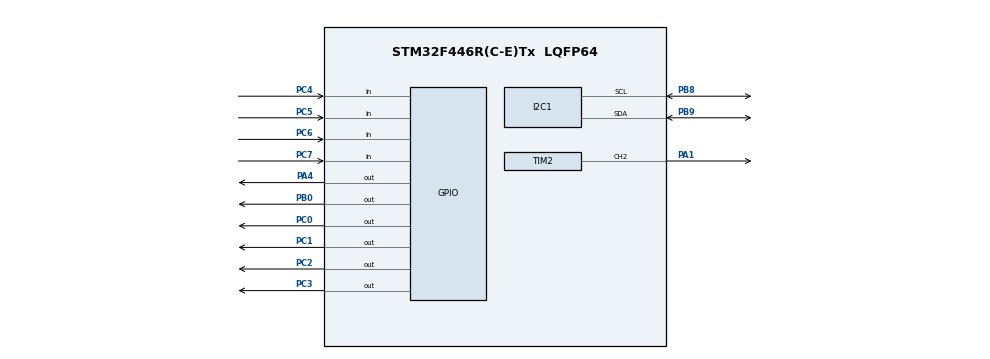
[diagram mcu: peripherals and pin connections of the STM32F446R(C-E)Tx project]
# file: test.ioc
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Mcu.Family=STM32F4
Mcu.Name=STM32F446R(C-E)Tx
Mcu.Package=LQFP64
NVIC.PriorityGroup=NVIC_PRIORITYGROUP_4
NVIC.TIM3_IRQn=true\:0\:0\:false\:false\:true\:true\:true\:true
NVIC.TIM5_IRQn=true\:0\:0\:false\:false\:true\:true\:true\:true
PA1.Signal=S_TIM2_CH2
PA13.Mode=Serial_Wire
PA13.Signal=SYS_JTMS-SWDIO
PA14.Mode=Serial_Wire
PA14.Signal=SYS_JTCK-SWCLK
PA4.Signal=GPIO_Output
PB0.Signal=GPIO_Output
PB8.Mode=I2C
PB8.Signal=I2C1_SCL
PB9.Mode=I2C
PB9.Signal=I2C1_SDA
PC0.Signal=GPIO_Output
PC1.Signal=GPIO_Output
PC2.Signal=GPIO_Output
PC3.Signal=GPIO_Output
PC4.Signal=GPIO_Input
PC5.Signal=GPIO_Input
PC6.Signal=GPIO_Input
PC7.Signal=GPIO_Input
PH0-OSC_IN.Mode=HSE-External-Oscillator
PH0-OSC_IN.Signal=RCC_OSC_IN
PH1-OSC_OUT.Mode=HSE-External-Oscillator
PH1-OSC_OUT.Signal=RCC_OSC_OUT
ProjectManager.HeapSize=0x200
ProjectManager.StackSize=0x400
ProjectManager.TargetToolchain=STM32CubeIDE
RCC.CortexFreq_Value=16000000
RCC.USBFreq_Value=96000000
RCC.VCOOutputFreq_Value=192000000
SH.S_TIM2_CH2.0=TIM2_CH2,PWM Generation2 CH2
TIM2.Channel-PWM\ Generation2\ CH2=TIM_CHANNEL_2
TIM2.Period=65
TIM2.Prescaler=99
TIM2.Pulse-PWM\ Generation2\ CH2=32
TIM3.Period=199
TIM3.Prescaler=15999
TIM5.Period=399
TIM5.Prescaler=15999
VP_TIM2_VS_ClockSourceINT.Mode=Internal
VP_TIM3_VS_ClockSourceINT.Mode=Internal
VP_TIM5_VS_ClockSourceINT.Mode=Internal
board=custom

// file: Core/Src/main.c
/* USER CODE BEGIN Header */
/**
  ******************************************************************************
  * @file           : main.c
  * @brief          : Main program body
  ******************************************************************************
  * @attention
  *
  * Copyright (c) 2023 STMicroelectronics.
  * All rights reserved.
  *
  * This software is licensed under terms that can be found in the LICENSE file
  * in the root directory of this software component.
  * If no LICENSE file comes with this software, it is provided AS-IS.
  *
  ******************************************************************************
  */
/* USER CODE END Header */
#include "main.h"
#include "i2c.h"
#include "tim.h"
#include "gpio.h"

/* USER CODE BEGIN Includes */
#include "liquidcrystal_i2c.h"
/* USER CODE END Includes */

void SystemClock_Config(void);

int main(void)
{

  /* MCU Configuration--------------------------------------------------------*/

  /* Reset of all peripherals, Initializes the Flash interface and the Systick. */
  HAL_Init();

  /* Configure the system clock */
  SystemClock_Config();

  /* Initialize all configured peripherals */
  MX_GPIO_Init();
  MX_I2C1_Init();
  MX_TIM2_Init();
  MX_TIM3_Init();
  MX_TIM5_Init();
  /* USER CODE BEGIN 2 */
  KeyPad_Init();

  HD44780_Init(2);
  HD44780_Clear();
  HD44780_SetCursor(0,0);
  HD44780_PrintStr("SET PASSWORD:");
  HD44780_SetCursor(0,1);
  HD44780_Blink();
  char x[6], y[6];
  char print[2];
  char secret[2] = {'*', '\0'};
  int trigger = 0;

  for(int i = 0; i<6; i++){
	  x[i] = KeyPad_WaitForKeyGetChar(0);
	  print[0] = x[i];
	  print[1] = '\0';
	  HD44780_PrintStr(print);
	  HD44780_SetCursor(i+1,1);
  }
  HD44780_NoBlink();
  HAL_Delay(3000);
  HD44780_Clear();
  HD44780_NoBacklight();
  HAL_Delay(2000);
  HD44780_Backlight();
  /* USER CODE END 2 */

  /* Infinite loop */
  /* USER CODE BEGIN WHILE */
  while (1)
  {
	  HD44780_Clear();
	  trigger = 0;
	  HD44780_SetCursor(0,0);
	  HD44780_PrintStr("ENTER PASSWORD:");
	  HD44780_SetCursor(0,1);
	  HD44780_Blink();
	  for(int i = 0; i<6; i++){
		  y[i] = KeyPad_WaitForKeyGetChar(0);
		  HD44780_PrintStr(secret);
		  HD44780_SetCursor(i+1,1);
	  }
	  HD44780_NoBlink();
	  HAL_Delay(1000);
	  HD44780_Clear();
	  HD44780_SetCursor(0,0);
	  for(int i = 0; i<6; i++){
		  if(y[i]==x[i])
			  trigger++;
	  }
	  if (trigger == 6){
		  HD44780_PrintStr("ACCESS GRANTED!");
		  HAL_TIM_Base_Start_IT(&htim5);
		  HAL_Delay(400);
		  HAL_TIM_PWM_Start(&htim2, TIM_CHANNEL_2);
		  HAL_Delay(300);
		  HAL_TIM_PWM_Stop(&htim2, TIM_CHANNEL_2);
		  HAL_Delay(1700);
		  HAL_TIM_Base_Stop_IT(&htim5);
		  HAL_GPIO_WritePin(GPIOB, GPIO_PIN_0, GPIO_PIN_RESET);
	  }
	  else{
		  HD44780_PrintStr("ACCESS DENIED!");
		  HAL_TIM_Base_Start_IT(&htim3);
	  	  for (int i = 0; i<5; i++){
	  		  HAL_Delay(200);
	  		  HAL_TIM_PWM_Start(&htim2, TIM_CHANNEL_2);
	  		  HAL_Delay(200);
	  		  HAL_TIM_PWM_Stop(&htim2, TIM_CHANNEL_2);
	  	  }
	  	  HAL_TIM_Base_Stop_IT(&htim3);
	  	  HAL_GPIO_WritePin(GPIOA, GPIO_PIN_4, GPIO_PIN_RESET);
	  }

    /* USER CODE END WHILE */

}
}

void SystemClock_Config(void)
{
  RCC_OscInitTypeDef RCC_OscInitStruct = {0};
  RCC_ClkInitTypeDef RCC_ClkInitStruct = {0};

  /** Configure the main internal regulator output voltage
  */
  __HAL_RCC_PWR_CLK_ENABLE();
  __HAL_PWR_VOLTAGESCALING_CONFIG(PWR_REGULATOR_VOLTAGE_SCALE3);

  /** Initializes the RCC Oscillators according to the specified parameters
  * in the RCC_OscInitTypeDef structure.
  */
  RCC_OscInitStruct.OscillatorType = RCC_OSCILLATORTYPE_HSI;
  RCC_OscInitStruct.HSIState = RCC_HSI_ON;
  RCC_OscInitStruct.HSICalibrationValue = RCC_HSICALIBRATION_DEFAULT;
  RCC_OscInitStruct.PLL.PLLState = RCC_PLL_NONE;
  if (HAL_RCC_OscConfig(&RCC_OscInitStruct) != HAL_OK)
  {
    Error_Handler();
  }

  /** Initializes the CPU, AHB and APB buses clocks
  */
  RCC_ClkInitStruct.ClockType = RCC_CLOCKTYPE_HCLK|RCC_CLOCKTYPE_SYSCLK
                              |RCC_CLOCKTYPE_PCLK1|RCC_CLOCKTYPE_PCLK2;
  RCC_ClkInitStruct.SYSCLKSource = RCC_SYSCLKSOURCE_HSI;
  RCC_ClkInitStruct.AHBCLKDivider = RCC_SYSCLK_DIV1;
  RCC_ClkInitStruct.APB1CLKDivider = RCC_HCLK_DIV1;
  RCC_ClkInitStruct.APB2CLKDivider = RCC_HCLK_DIV1;

  if (HAL_RCC_ClockConfig(&RCC_ClkInitStruct, FLASH_LATENCY_0) != HAL_OK)
  {
    Error_Handler();
  }
}

/* USER CODE BEGIN 4 */
void HAL_TIM_PeriodElapsedCallback(TIM_HandleTypeDef *htim)
{
  if(htim->Instance == TIM3)
  {
    HAL_GPIO_TogglePin(GPIOA, GPIO_PIN_4);
  }

  if(htim->Instance == TIM5)
  {
      HAL_GPIO_TogglePin(GPIOB, GPIO_PIN_0);
  }
}
/* USER CODE END 4 */

void Error_Handler(void)
{
  __disable_irq();
  while (1)
  {
  }
}
